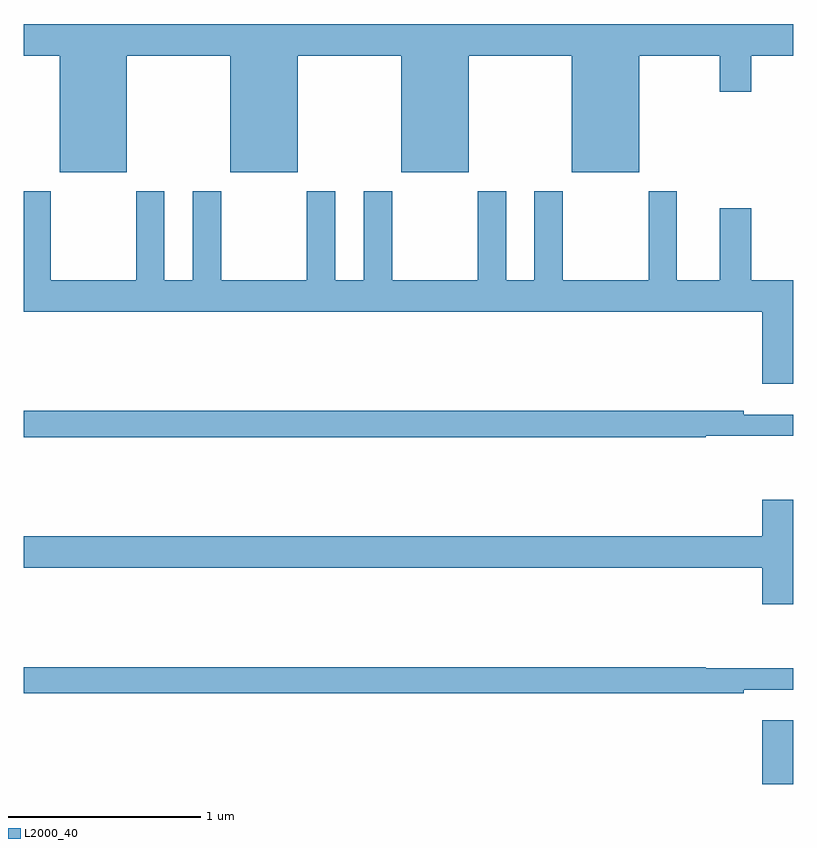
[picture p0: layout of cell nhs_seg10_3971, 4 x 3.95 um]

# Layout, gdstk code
import gdstk
lib = gdstk.Library(unit=1e-6, precision=1e-09)
def R(c, l, rs):  # rectangles x0, y0, x1, y1
    for r in rs: c.add(gdstk.rectangle(r[:2], r[2:], *l))
def P(c, l, *ps):  # polygons
    for p in ps: c.add(gdstk.Polygon(p, *l))
L2000_40 = (2000, 40)

nhs_seg10_3971 = lib.new_cell('nhs_seg10_3971')
R(nhs_seg10_3971, L2000_40, [(332.84,1324.5,333,1324.831)])
P(nhs_seg10_3971, L2000_40, [(329.536,1328.288),(330.074,1328.288),(330.074,1327.682),(330.424,1327.682),(330.424,1328.288),(330.962,1328.288),(330.962,1327.682),(331.312,1327.682),(331.312,1328.288),(331.85,1328.288),(331.85,1327.682),(332.2,1327.682),(332.2,1328.288),(332.618,1328.288),(332.618,1328.1),(332.782,1328.1),(332.782,1328.288),(333,1328.288),(333,1328.452),(329,1328.452),(329,1328.288),(329.186,1328.288),(329.186,1327.682),(329.536,1327.682)],
  [(332.84,1326.582),(333,1326.582),(333,1327.12),(332.782,1327.12),(332.782,1327.495),(332.618,1327.495),(332.618,1327.12),(332.395,1327.12),(332.395,1327.582),(332.248,1327.582),(332.248,1327.12),(331.803,1327.12),(331.803,1327.582),(331.655,1327.582),(331.655,1327.12),(331.507,1327.12),(331.507,1327.582),(331.36,1327.582),(331.36,1327.12),(330.915,1327.12),(330.915,1327.582),(330.767,1327.582),(330.767,1327.12),(330.619,1327.12),(330.619,1327.582),(330.472,1327.582),(330.472,1327.12),(330.027,1327.12),(330.027,1327.582),(329.879,1327.582),(329.879,1327.12),(329.731,1327.12),(329.731,1327.582),(329.584,1327.582),(329.584,1327.12),(329.139,1327.12),(329.139,1327.582),(329,1327.582),(329,1326.956),(332.84,1326.956)],
  [(332.545,1326.312),(333,1326.312),(333,1326.421),(332.744,1326.421),(332.744,1326.44),(329,1326.44),(329,1326.304),(332.545,1326.304)],
  [(333,1325.977),(332.84,1325.977),(332.84,1325.788),(329,1325.788),(329,1325.624),(332.84,1325.624),(332.84,1325.436),(333,1325.436)],
  [(332.744,1324.991),(333,1324.991),(333,1325.101),(332.545,1325.101),(332.545,1325.108),(329,1325.108),(329,1324.972),(332.744,1324.972)])

lib.write_gds('nhs_seg10_3971.gds')
